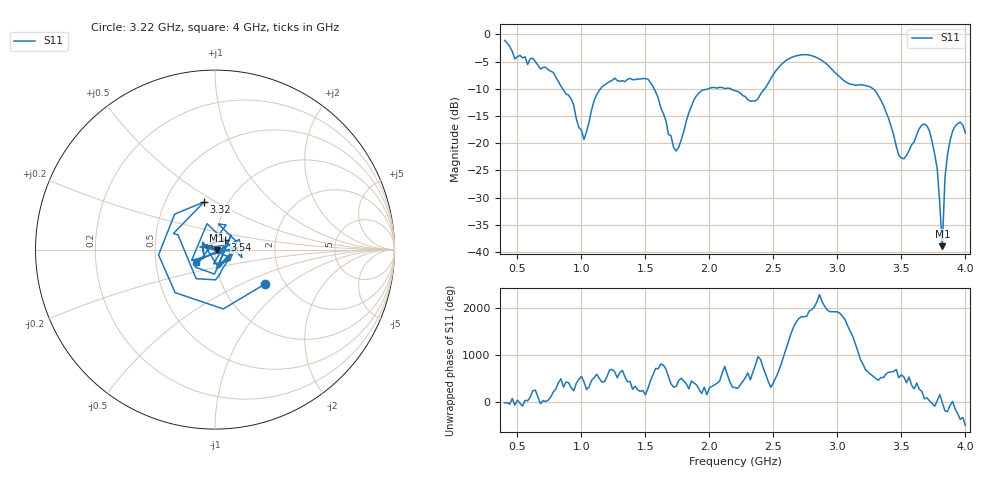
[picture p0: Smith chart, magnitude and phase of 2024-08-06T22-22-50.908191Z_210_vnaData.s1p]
!Created with skrf (http://scikit-rf.org).
# Hz S RI R 50.0
!freq ReS11 ImS11
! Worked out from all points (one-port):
!   181 points, 400 MHz to 4 GHz, reference 50 ohm
!   lowest |S11| = -38.9 dB at 3.82 GHz (marker M1), VSWR 1.02, Z = 51 - j0.477 ohm
!   |S11| at or under -10 dB: 853.6 MHz to 1.149 GHz (295.7 MHz wide, 29.5 % of centre); 1.568 GHz to 1.992 GHz (424.3 MHz wide, 23.8 % of centre); 3.279 GHz to end of sweep (the widest 3 of 4)
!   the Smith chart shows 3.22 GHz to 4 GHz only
!   S11 on the Smith chart (normalised r, x): 3.22 GHz: 1.59, -0.69; 3.32 GHz: 0.77, +0.44; 3.54 GHz: 1.11, +0.12; 4 GHz: 0.81, -0.11
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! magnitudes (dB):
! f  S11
! 400 MHz  -1.1
! 480 MHz  -4.5
! 860 MHz  -10.2
! 1.02 GHz  -19.3
! 1.12 GHz  -11.0
! 1.3 GHz  -8.7
! 1.52 GHz  -8.2
! 1.72 GHz  -20.8
! 1.76 GHz  -20.7
! 1.92 GHz  -10.7
! 2.2 GHz  -10.3
! 2.36 GHz  -12.2
! 2.66 GHz  -4.1
! 2.86 GHz  -4.5
! 3.1 GHz  -9.2
! 3.22 GHz  -9.4
! 3.32 GHz  -11.3
! 3.48 GHz  -22.2
! 3.54 GHz  -22.2
! 3.56 GHz  -21.3
! 3.66 GHz  -16.7
! 3.72 GHz  -17.8
! 3.78 GHz  -24.7
! 3.82 GHz  -38.9
! 3.84 GHz  -26.4
! 3.88 GHz  -19.6
! 3.96 GHz  -16.1
! 4 GHz  -18.1
